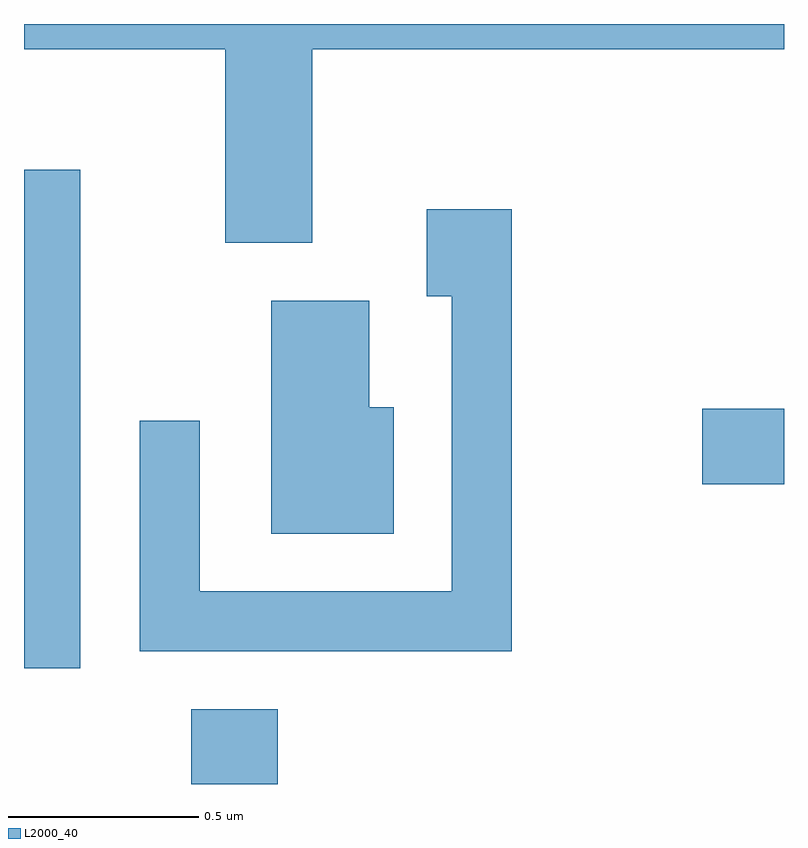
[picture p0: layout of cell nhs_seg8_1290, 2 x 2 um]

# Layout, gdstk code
import gdstk
lib = gdstk.Library(unit=1e-6, precision=1e-09)
def R(c, l, rs):  # rectangles x0, y0, x1, y1
    for r in rs: c.add(gdstk.rectangle(r[:2], r[2:], *l))
def P(c, l, *ps):  # polygons
    for p in ps: c.add(gdstk.Polygon(p, *l))
L2000_40 = (2000, 40)

nhs_seg8_1290 = lib.new_cell('nhs_seg8_1290')
R(nhs_seg8_1290, L2000_40, [(195.051,1863.342,195.279,1863.539), (194.611,1863.646,194.759,1864.959), (196.396,1864.131,196.611,1864.329)])
P(nhs_seg8_1290, L2000_40, [(195.369,1865.276),(196.611,1865.276),(196.611,1865.342),(194.611,1865.342),(194.611,1865.276),(195.141,1865.276),(195.141,1864.766),(195.369,1864.766)],
  [(195.894,1864.854),(195.671,1864.854),(195.671,1864.626),(195.736,1864.626),(195.736,1863.849),(195.074,1863.849),(195.074,1864.298),(194.916,1864.298),(194.916,1863.691),(195.894,1863.691)],
  [(195.584,1864.334),(195.519,1864.334),(195.519,1864.614),(195.261,1864.614),(195.261,1864.001),(195.584,1864.001)])

lib.write_gds('nhs_seg8_1290.gds')
